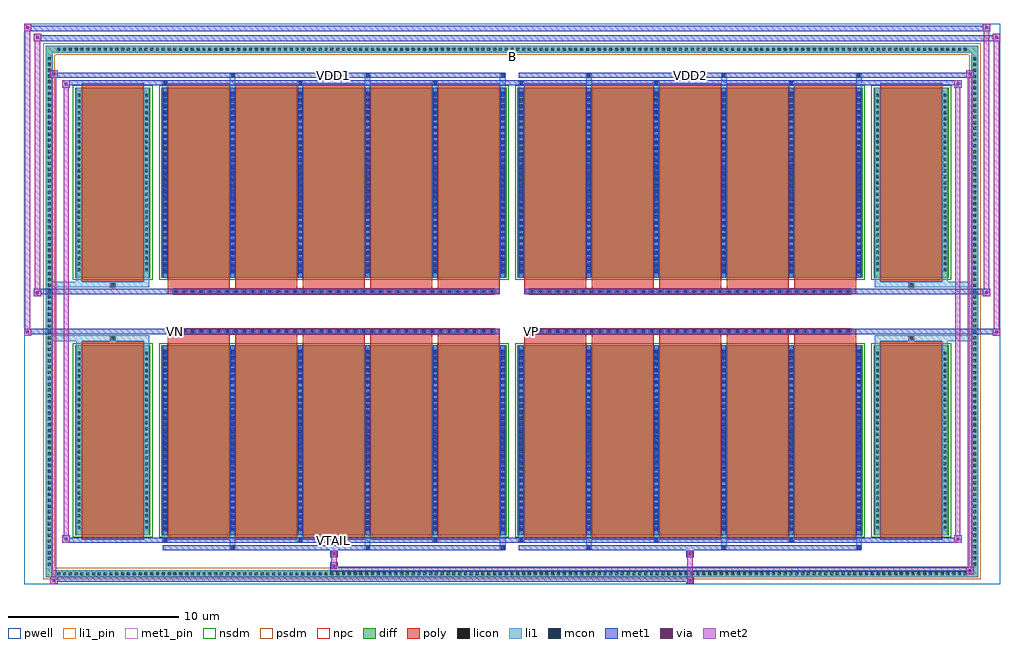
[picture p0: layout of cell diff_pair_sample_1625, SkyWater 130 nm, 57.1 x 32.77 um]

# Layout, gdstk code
import gdstk
lib = gdstk.Library(unit=1e-6, precision=5e-09)
def R(c, l, rs):  # rectangles x0, y0, x1, y1
    for r in rs: c.add(gdstk.rectangle(r[:2], r[2:], *l))
def A(c, l, x, y, w, h, nx, ny, dx, dy):  # array of equal rectangles
    R(c, l, [(x+i*dx, y+j*dy, x+i*dx+w, y+j*dy+h) for i in range(nx) for j in range(ny)])
def P(c, l, *ps):  # polygons
    for p in ps: c.add(gdstk.Polygon(p, *l))
pwell = (64, 44)
diff = (65, 20)
poly = (66, 20)
licon = (66, 44)
li1_pin = (67, 16)
li1 = (67, 20)
mcon = (67, 44)
met1_pin = (68, 16)
met1 = (68, 20)
via = (68, 44)
met2 = (69, 20)
nsdm = (93, 44)
psdm = (94, 20)
npc = (95, 20)

diff_pair_sample_1625 = lib.new_cell('diff_pair_sample_1625')
R(diff_pair_sample_1625, pwell, [(-28.55,-15.95,28.55,16.82), (-25.87,-14.14,-0.01,-0.8), (0.01,-14.14,25.87,-0.8), (-25.87,0.8,-0.01,14.14), (0.01,0.8,25.87,14.14)])
A(diff_pair_sample_1625, diff, -26.725, -15.55, 0.41, 0.41, 157, 2, 0.34, 30.69)
A(diff_pair_sample_1625, diff, -27.28, -14.995, 0.41, 0.41, 1, 88, 0, 0.34)
A(diff_pair_sample_1625, diff, 26.87, -14.995, 0.41, 0.41, 1, 88, 0, 0.34)
R(diff_pair_sample_1625, diff, [(-26.725,-15.55,26.725,-15.14), (-27.28,-14.995,-26.87,14.995), (26.87,-14.995,27.28,14.995), (-25.56,-13.095,-21.16,-1.985), (-20.52,-13.095,-0.32,-1.985), (0.32,-13.095,20.52,-1.985), (21.16,-13.095,25.56,-1.985), (-25.56,1.985,-21.16,13.095), (-20.52,1.985,-0.32,13.095), (0.32,1.985,20.52,13.095), (21.16,1.985,25.56,13.095), (-26.725,15.14,26.725,15.55)])
P(diff_pair_sample_1625, diff, [(27.28,15.55),(-27.28,15.55),(-27.28,-15.14),(-26.87,-15.14),(-26.87,15.14),(26.87,15.14),(26.87,-15.14),(-26.87,-15.14),(-27.28,-15.14),(-27.28,-15.55),(27.28,-15.55)])
A(diff_pair_sample_1625, poly, -20.13, -13.345, 3.62, 11.61, 5, 2, 3.95, 15.08)
A(diff_pair_sample_1625, poly, 0.71, -13.345, 3.62, 11.61, 5, 2, 3.95, 15.08)
A(diff_pair_sample_1625, poly, -20.13, -1.735, 3.62, 0.405, 5, 2, 3.95, 3.065)
A(diff_pair_sample_1625, poly, 0.71, -1.735, 3.62, 0.405, 5, 2, 3.95, 3.065)
A(diff_pair_sample_1625, poly, -19.835, -1.33, 0.33, 0.33, 38, 2, 0.5, 2.33)
A(diff_pair_sample_1625, poly, 1.005, -1.33, 0.33, 0.33, 38, 2, 0.5, 2.33)
R(diff_pair_sample_1625, poly, [(-25.17,-13.345,-21.55,-1.735), (21.55,-13.345,25.17,-1.735), (-23.525,-1.735,-23.195,-1.405), (-23.525,-1.735,-23.195,-1.405), (23.195,-1.735,23.525,-1.405), (23.195,-1.735,23.525,-1.405), (-20.13,-1.33,-0.71,-1), (0.71,-1.33,20.13,-1), (-20.13,1,-0.71,1.33), (0.71,1,20.13,1.33), (-23.525,1.405,-23.195,1.735), (-23.525,1.405,-23.195,1.735), (23.195,1.405,23.525,1.735), (23.195,1.405,23.525,1.735), (-25.17,1.735,-21.55,13.345), (21.55,1.735,25.17,13.345)])
A(diff_pair_sample_1625, licon, -26.605, -15.43, 0.17, 0.17, 157, 2, 0.34, 30.69)
A(diff_pair_sample_1625, licon, -27.16, -14.875, 0.17, 0.17, 1, 88, 0, 0.34)
A(diff_pair_sample_1625, licon, 26.99, -14.875, 0.17, 0.17, 1, 88, 0, 0.34)
A(diff_pair_sample_1625, licon, -25.42, -12.725, 0.17, 0.17, 1, 31, 0, 0.34)
A(diff_pair_sample_1625, licon, -21.47, -12.725, 0.17, 0.17, 1, 31, 0, 0.34)
A(diff_pair_sample_1625, licon, -20.38, -12.725, 0.17, 0.17, 6, 31, 3.95, 0.34)
A(diff_pair_sample_1625, licon, 0.46, -12.725, 0.17, 0.17, 6, 31, 3.95, 0.34)
A(diff_pair_sample_1625, licon, 21.3, -12.725, 0.17, 0.17, 1, 31, 0, 0.34)
A(diff_pair_sample_1625, licon, 25.25, -12.725, 0.17, 0.17, 1, 31, 0, 0.34)
A(diff_pair_sample_1625, licon, -19.755, -1.25, 0.17, 0.17, 38, 2, 0.5, 2.33)
A(diff_pair_sample_1625, licon, 1.085, -1.25, 0.17, 0.17, 38, 2, 0.5, 2.33)
A(diff_pair_sample_1625, licon, -25.42, 2.355, 0.17, 0.17, 1, 31, 0, 0.34)
A(diff_pair_sample_1625, licon, -21.47, 2.355, 0.17, 0.17, 1, 31, 0, 0.34)
A(diff_pair_sample_1625, licon, -20.38, 2.355, 0.17, 0.17, 6, 31, 3.95, 0.34)
A(diff_pair_sample_1625, licon, 0.46, 2.355, 0.17, 0.17, 6, 31, 3.95, 0.34)
A(diff_pair_sample_1625, licon, 21.3, 2.355, 0.17, 0.17, 1, 31, 0, 0.34)
A(diff_pair_sample_1625, licon, 25.25, 2.355, 0.17, 0.17, 1, 31, 0, 0.34)
R(diff_pair_sample_1625, licon, [(-23.445,-1.655,-23.275,-1.485), (23.275,-1.655,23.445,-1.485), (-23.445,1.485,-23.275,1.655), (23.275,1.485,23.445,1.655)])
R(diff_pair_sample_1625, li1_pin, [(-0.25,14.64,0.25,15.14)])
A(diff_pair_sample_1625, li1, -26.685, -15.51, 0.33, 0.33, 157, 2, 0.34, 30.69)
A(diff_pair_sample_1625, li1, -27.24, -14.955, 0.33, 0.33, 1, 88, 0, 0.34)
A(diff_pair_sample_1625, li1, 26.91, -14.955, 0.33, 0.33, 1, 88, 0, 0.34)
A(diff_pair_sample_1625, li1, -16.51, -13.9, 0.33, 0.805, 3, 2, 7.9, 26.995)
A(diff_pair_sample_1625, li1, -16.43, -13.9, 0.17, 0.17, 3, 2, 7.9, 27.63)
A(diff_pair_sample_1625, li1, 4.33, -13.9, 0.33, 0.805, 3, 2, 7.9, 26.995)
A(diff_pair_sample_1625, li1, 4.41, -13.9, 0.17, 0.17, 3, 2, 7.9, 27.63)
A(diff_pair_sample_1625, li1, -20.46, -13.47, 0.33, 0.375, 3, 2, 7.9, 26.565)
A(diff_pair_sample_1625, li1, -20.38, -13.47, 0.17, 0.17, 3, 2, 7.9, 26.77)
A(diff_pair_sample_1625, li1, 0.38, -13.47, 0.33, 0.375, 3, 2, 7.9, 26.565)
A(diff_pair_sample_1625, li1, 0.46, -13.47, 0.17, 0.17, 3, 2, 7.9, 26.77)
A(diff_pair_sample_1625, li1, -20.46, -13.095, 0.33, 11.11, 6, 2, 3.95, 15.08)
A(diff_pair_sample_1625, li1, 0.38, -13.095, 0.33, 11.11, 6, 2, 3.95, 15.08)
A(diff_pair_sample_1625, li1, -20.38, -12.845, 0.17, 0.17, 6, 30, 3.95, 0.36)
A(diff_pair_sample_1625, li1, -20.38, -12.845, 0.17, 10.61, 6, 2, 3.95, 15.08)
A(diff_pair_sample_1625, li1, 0.46, -12.845, 0.17, 0.17, 6, 30, 3.95, 0.36)
A(diff_pair_sample_1625, li1, 0.46, -12.845, 0.17, 10.61, 6, 2, 3.95, 15.08)
A(diff_pair_sample_1625, li1, -25.5, -12.805, 0.33, 0.33, 1, 31, 0, 0.34)
A(diff_pair_sample_1625, li1, -21.55, -12.805, 0.33, 0.33, 1, 31, 0, 0.34)
A(diff_pair_sample_1625, li1, -20.46, -12.805, 0.33, 0.33, 6, 31, 3.95, 0.34)
A(diff_pair_sample_1625, li1, 0.38, -12.805, 0.33, 0.33, 6, 31, 3.95, 0.34)
A(diff_pair_sample_1625, li1, 21.22, -12.805, 0.33, 0.33, 1, 31, 0, 0.34)
A(diff_pair_sample_1625, li1, 25.17, -12.805, 0.33, 0.33, 1, 31, 0, 0.34)
A(diff_pair_sample_1625, li1, -19.835, -1.33, 0.33, 0.33, 38, 2, 0.5, 2.33)
A(diff_pair_sample_1625, li1, 1.005, -1.33, 0.33, 0.33, 38, 2, 0.5, 2.33)
A(diff_pair_sample_1625, li1, -20.38, 2.235, 0.17, 0.17, 6, 30, 3.95, 0.36)
A(diff_pair_sample_1625, li1, 0.46, 2.235, 0.17, 0.17, 6, 30, 3.95, 0.36)
A(diff_pair_sample_1625, li1, -25.5, 2.275, 0.33, 0.33, 1, 31, 0, 0.34)
A(diff_pair_sample_1625, li1, -21.55, 2.275, 0.33, 0.33, 1, 31, 0, 0.34)
A(diff_pair_sample_1625, li1, -20.46, 2.275, 0.33, 0.33, 6, 31, 3.95, 0.34)
A(diff_pair_sample_1625, li1, 0.38, 2.275, 0.33, 0.33, 6, 31, 3.95, 0.34)
A(diff_pair_sample_1625, li1, 21.22, 2.275, 0.33, 0.33, 1, 31, 0, 0.34)
A(diff_pair_sample_1625, li1, 25.17, 2.275, 0.33, 0.33, 1, 31, 0, 0.34)
R(diff_pair_sample_1625, li1, [(-27.28,-15.55,-26.87,-15.14), (-27.28,-15.55,-26.87,-15.14), (-26.87,-15.55,26.87,-15.14), (26.87,-15.55,27.28,-15.14), (26.87,-15.55,27.28,-15.14), (-27.28,-15.14,-26.87,15.14), (26.87,-15.14,27.28,15.14), (-25.5,-13.095,-25.17,-1.985), (-21.55,-13.095,-21.22,-1.985), (21.22,-13.095,21.55,-1.985), (25.17,-13.095,25.5,-1.985), (-25.5,-1.985,-25.17,-1.405), (-21.55,-1.985,-21.22,-1.405), (21.22,-1.985,21.55,-1.405), (25.17,-1.985,25.5,-1.405), (-27.28,-1.735,-23.525,-1.405), (-25.5,-1.735,-23.525,-1.405), (-23.525,-1.735,-23.195,-1.405), (-23.195,-1.735,-21.22,-1.405), (21.22,-1.735,23.195,-1.405), (23.195,-1.735,23.525,-1.405), (23.195,-1.735,27.28,-1.405), (23.525,-1.735,25.5,-1.405), (-27.28,1.405,-23.525,1.735), (-25.5,1.405,-23.525,1.735), (-25.5,1.405,-25.17,1.985), (-23.525,1.405,-23.195,1.735), (-23.195,1.405,-21.22,1.735), (-21.55,1.405,-21.22,1.985), (21.22,1.405,23.195,1.735), (21.22,1.405,21.55,1.985), (23.195,1.405,23.525,1.735), (23.195,1.405,27.28,1.735), (23.525,1.405,25.5,1.735), (25.17,1.405,25.5,1.985), (-25.5,1.985,-25.17,13.095), (-21.55,1.985,-21.22,13.095), (21.22,1.985,21.55,13.095), (25.17,1.985,25.5,13.095), (-27.28,15.14,-26.87,15.55), (-27.28,15.14,-26.87,15.55), (-26.87,15.14,26.87,15.55), (26.87,15.14,27.28,15.55), (26.87,15.14,27.28,15.55)])
A(diff_pair_sample_1625, mcon, -16.43, -13.9, 0.17, 0.17, 3, 2, 7.9, 27.63)
A(diff_pair_sample_1625, mcon, 4.41, -13.9, 0.17, 0.17, 3, 2, 7.9, 27.63)
A(diff_pair_sample_1625, mcon, -20.38, -13.47, 0.17, 0.17, 3, 2, 7.9, 26.77)
A(diff_pair_sample_1625, mcon, 0.46, -13.47, 0.17, 0.17, 3, 2, 7.9, 26.77)
A(diff_pair_sample_1625, mcon, -20.38, -12.845, 0.17, 0.17, 6, 30, 3.95, 0.36)
A(diff_pair_sample_1625, mcon, 0.46, -12.845, 0.17, 0.17, 6, 30, 3.95, 0.36)
A(diff_pair_sample_1625, mcon, -19.755, -1.25, 0.17, 0.17, 38, 2, 0.5, 2.33)
A(diff_pair_sample_1625, mcon, 1.085, -1.25, 0.17, 0.17, 38, 2, 0.5, 2.33)
A(diff_pair_sample_1625, mcon, -20.38, 2.235, 0.17, 0.17, 6, 30, 3.95, 0.36)
A(diff_pair_sample_1625, mcon, 0.46, 2.235, 0.17, 0.17, 6, 30, 3.95, 0.36)
R(diff_pair_sample_1625, met1_pin, [(-10.555,-13.51,-10.285,-13.24), (-19.805,-1.29,-19.535,-1.02), (1.035,-1.29,1.305,-1.02), (-10.555,13.69,-10.285,13.96), (10.285,13.69,10.555,13.96)])
A(diff_pair_sample_1625, met1, -16.49, -13.96, 0.29, 0.29, 3, 2, 7.9, 27.63)
A(diff_pair_sample_1625, met1, 4.35, -13.96, 0.29, 0.29, 3, 2, 7.9, 27.63)
A(diff_pair_sample_1625, met1, -20.44, -13.53, 0.29, 0.29, 3, 2, 7.9, 26.77)
A(diff_pair_sample_1625, met1, 0.4, -13.53, 0.29, 0.29, 3, 2, 7.9, 26.77)
A(diff_pair_sample_1625, met1, -20.44, -13.095, 0.29, 11.11, 6, 2, 3.95, 15.08)
A(diff_pair_sample_1625, met1, 0.4, -13.095, 0.29, 11.11, 6, 2, 3.95, 15.08)
A(diff_pair_sample_1625, met1, -20.44, -12.905, 0.29, 0.29, 6, 30, 3.95, 0.36)
A(diff_pair_sample_1625, met1, 0.4, -12.905, 0.29, 0.29, 6, 30, 3.95, 0.36)
A(diff_pair_sample_1625, met1, -19.815, -1.31, 0.29, 0.29, 38, 2, 0.5, 2.33)
A(diff_pair_sample_1625, met1, 1.025, -1.31, 0.29, 0.29, 38, 2, 0.5, 2.33)
A(diff_pair_sample_1625, met1, -20.44, 2.175, 0.29, 0.29, 6, 30, 3.95, 0.36)
A(diff_pair_sample_1625, met1, 0.4, 2.175, 0.29, 0.29, 6, 30, 3.95, 0.36)
R(diff_pair_sample_1625, met1, [(-27.01,-15.95,-26.58,-15.52), (10.205,-15.95,10.635,-15.52), (-27.01,-15.81,10.635,-15.52), (26.58,-15.38,27.01,-14.95), (-10.635,-15.24,27.01,-14.95), (-10.635,-15.1,-10.205,-14.67), (-10.635,-14.39,-10.205,-13.96), (10.205,-14.39,10.635,-13.96), (-20.44,-13.96,-0.4,-13.67), (0.4,-13.96,20.44,-13.67), (-26.3,-13.53,-25.87,-13.1), (-26.3,-13.53,-20.44,-13.24), (-20.44,-13.53,-0.4,-13.24), (-0.4,-13.53,0.4,-13.24), (0.4,-13.53,20.44,-13.24), (20.44,-13.53,26.3,-13.24), (25.87,-13.53,26.3,-13.1), (-28.55,-1.43,-28.12,-1), (28.12,-1.43,28.55,-1), (-28.55,-1.33,-0.71,-1), (-20.13,-1.33,-0.71,-1), (0.71,-1.33,20.13,-1), (0.71,-1.33,28.55,-1), (-27.98,0.9,-27.55,1.33), (27.55,0.9,27.98,1.33), (-27.98,1,-20.13,1.33), (-20.13,1,-0.71,1.33), (0.71,1,20.13,1.33), (20.13,1,27.98,1.33), (-26.3,13.1,-25.87,13.53), (25.87,13.1,26.3,13.53), (-26.3,13.24,-20.44,13.53), (-20.44,13.24,-0.4,13.53), (-0.4,13.24,0.4,13.53), (0.4,13.24,20.44,13.53), (20.44,13.24,26.3,13.53), (-27.01,13.67,-26.58,14.1), (-27.01,13.67,-20.44,13.96), (-20.44,13.67,-0.4,13.96), (0.4,13.67,20.44,13.96), (20.44,13.67,27.01,13.96), (26.58,13.67,27.01,14.1), (-27.98,15.82,-27.55,16.25), (-27.98,15.82,-25.87,16.15), (-25.87,15.82,25.87,16.15), (25.87,15.82,28.55,16.15), (28.12,15.82,28.55,16.25), (-28.55,16.39,-28.12,16.82), (-28.55,16.39,-25.87,16.72), (-25.87,16.39,25.87,16.72), (25.87,16.39,27.98,16.72), (27.55,16.39,27.98,16.82)])
R(diff_pair_sample_1625, via, [(-26.87,-15.81,-26.72,-15.66), (10.345,-15.81,10.495,-15.66), (26.72,-15.24,26.87,-15.09), (-10.495,-14.96,-10.345,-14.81), (-10.495,-14.25,-10.345,-14.1), (10.345,-14.25,10.495,-14.1), (-26.16,-13.39,-26.01,-13.24), (26.01,-13.39,26.16,-13.24), (-28.41,-1.29,-28.26,-1.14), (28.26,-1.29,28.41,-1.14), (-27.84,1.04,-27.69,1.19), (27.69,1.04,27.84,1.19), (-26.16,13.24,-26.01,13.39), (26.01,13.24,26.16,13.39), (-26.87,13.81,-26.72,13.96), (26.72,13.81,26.87,13.96), (-27.84,15.96,-27.69,16.11), (28.26,15.96,28.41,16.11), (-28.41,16.53,-28.26,16.68), (27.69,16.53,27.84,16.68)])
R(diff_pair_sample_1625, met2, [(-27.01,-15.95,-26.58,-15.52), (-26.94,-15.95,-26.65,14.1), (-26.65,-15.95,-26.58,-15.52), (-26.96,-15.9,-26.63,-15.57), (10.255,-15.9,10.585,-15.57), (10.255,-15.57,10.585,-14.34), (26.58,-15.38,27.01,-14.95), (26.65,-15.38,26.94,14.1), (26.94,-15.38,27.01,-14.95), (26.63,-15.33,26.96,-15), (-10.585,-15.05,-10.255,-14.72), (-10.585,-14.72,-10.255,-14.34), (-10.585,-14.34,-10.255,-14.01), (10.255,-14.34,10.585,-14.01), (-26.3,-13.53,-25.87,-13.1), (-26.23,-13.53,-25.94,13.53), (-25.94,-13.53,-25.87,-13.1), (25.87,-13.53,26.3,-13.1), (25.94,-13.53,26.23,13.53), (26.23,-13.53,26.3,-13.1), (-26.25,-13.48,-25.92,-13.15), (25.92,-13.48,26.25,-13.15), (-28.55,-1.43,-28.12,-1), (-28.5,-1.43,-28.17,16.82), (-28.17,-1.43,-28.12,-1), (28.12,-1.43,28.55,-1), (28.17,-1.43,28.5,16.25), (28.5,-1.43,28.55,-1), (-28.5,-1.38,-28.17,-1.05), (28.17,-1.38,28.5,-1.05), (-27.98,0.9,-27.55,1.33), (-27.93,0.9,-27.6,16.25), (-27.6,0.9,-27.55,1.33), (27.55,0.9,27.98,1.33), (27.6,0.9,27.93,16.82), (27.93,0.9,27.98,1.33), (-27.93,0.95,-27.6,1.28), (27.6,0.95,27.93,1.28), (-26.3,13.1,-25.87,13.53), (-25.94,13.1,-25.87,13.53), (25.87,13.1,26.3,13.53), (26.23,13.1,26.3,13.53), (-26.25,13.15,-25.92,13.48), (25.92,13.15,26.25,13.48), (-27.01,13.67,-26.58,14.1), (-26.65,13.67,-26.58,14.1), (26.58,13.67,27.01,14.1), (26.94,13.67,27.01,14.1), (-26.96,13.72,-26.63,14.05), (26.63,13.72,26.96,14.05), (-27.98,15.82,-27.55,16.25), (-27.6,15.82,-27.55,16.25), (28.12,15.82,28.55,16.25), (28.5,15.82,28.55,16.25), (-27.93,15.87,-27.6,16.2), (28.17,15.87,28.5,16.2), (-28.55,16.39,-28.12,16.82), (-28.17,16.39,-28.12,16.82), (27.55,16.39,27.98,16.82), (27.93,16.39,27.98,16.82), (-28.5,16.44,-28.17,16.77), (27.6,16.44,27.93,16.77)])
R(diff_pair_sample_1625, nsdm, [(-25.69,-13.225,-21.03,-1.855), (-20.65,-13.225,-0.19,-1.855), (0.19,-13.225,20.65,-1.855), (21.03,-13.225,25.69,-1.855), (-25.69,1.855,-21.03,13.225), (-20.65,1.855,-0.19,13.225), (0.19,1.855,20.65,13.225), (21.03,1.855,25.69,13.225)])
P(diff_pair_sample_1625, psdm, [(27.41,15.68),(-27.41,15.68),(-27.41,-15.01),(-26.74,-15.01),(-26.74,15.01),(26.74,15.01),(26.74,-15.01),(-26.74,-15.01),(-27.41,-15.01),(-27.41,-15.68),(27.41,-15.68)])
A(diff_pair_sample_1625, npc, -19.855, -1.35, 0.37, 0.37, 38, 2, 0.5, 2.33)
A(diff_pair_sample_1625, npc, 0.985, -1.35, 0.37, 0.37, 38, 2, 0.5, 2.33)
R(diff_pair_sample_1625, npc, [(-23.545,-1.755,-23.175,-1.385), (23.175,-1.755,23.545,-1.385), (-19.855,-1.35,-18.985,-0.98), (-19.855,-1.35,-18.985,-0.98), (-19.355,-1.35,-18.485,-0.98), (-19.355,-1.35,-18.485,-0.98), (-18.855,-1.35,-17.985,-0.98), (-18.855,-1.35,-17.985,-0.98), (-18.355,-1.35,-17.485,-0.98), (-18.355,-1.35,-17.485,-0.98), (-17.855,-1.35,-16.985,-0.98), (-17.855,-1.35,-16.985,-0.98), (-17.355,-1.35,-16.485,-0.98), (-17.355,-1.35,-16.485,-0.98), (-16.855,-1.35,-15.985,-0.98), (-16.855,-1.35,-15.985,-0.98), (-16.355,-1.35,-15.485,-0.98), (-16.355,-1.35,-15.485,-0.98), (-15.855,-1.35,-14.985,-0.98), (-15.855,-1.35,-14.985,-0.98), (-15.355,-1.35,-14.485,-0.98), (-15.355,-1.35,-14.485,-0.98), (-14.855,-1.35,-13.985,-0.98), (-14.855,-1.35,-13.985,-0.98), (-14.355,-1.35,-13.485,-0.98), (-14.355,-1.35,-13.485,-0.98), (-13.855,-1.35,-12.985,-0.98), (-13.855,-1.35,-12.985,-0.98), (-13.355,-1.35,-12.485,-0.98), (-13.355,-1.35,-12.485,-0.98), (-12.855,-1.35,-11.985,-0.98), (-12.855,-1.35,-11.985,-0.98), (-12.355,-1.35,-11.485,-0.98), (-12.355,-1.35,-11.485,-0.98), (-11.855,-1.35,-10.985,-0.98), (-11.855,-1.35,-10.985,-0.98), (-11.355,-1.35,-10.485,-0.98), (-11.355,-1.35,-10.485,-0.98), (-10.855,-1.35,-9.985,-0.98), (-10.855,-1.35,-9.985,-0.98), (-10.355,-1.35,-9.485,-0.98), (-10.355,-1.35,-9.485,-0.98), (-9.855,-1.35,-8.985,-0.98), (-9.855,-1.35,-8.985,-0.98), (-9.355,-1.35,-8.485,-0.98), (-9.355,-1.35,-8.485,-0.98), (-8.855,-1.35,-7.985,-0.98), (-8.855,-1.35,-7.985,-0.98), (-8.355,-1.35,-7.485,-0.98), (-8.355,-1.35,-7.485,-0.98), (-7.855,-1.35,-6.985,-0.98), (-7.855,-1.35,-6.985,-0.98), (-7.355,-1.35,-6.485,-0.98), (-7.355,-1.35,-6.485,-0.98), (-6.855,-1.35,-5.985,-0.98), (-6.855,-1.35,-5.985,-0.98), (-6.355,-1.35,-5.485,-0.98), (-6.355,-1.35,-5.485,-0.98), (-5.855,-1.35,-4.985,-0.98), (-5.855,-1.35,-4.985,-0.98), (-5.355,-1.35,-4.485,-0.98), (-5.355,-1.35,-4.485,-0.98), (-4.855,-1.35,-3.985,-0.98), (-4.855,-1.35,-3.985,-0.98), (-4.355,-1.35,-3.485,-0.98), (-4.355,-1.35,-3.485,-0.98), (-3.855,-1.35,-2.985,-0.98), (-3.855,-1.35,-2.985,-0.98), (-3.355,-1.35,-2.485,-0.98), (-3.355,-1.35,-2.485,-0.98), (-2.855,-1.35,-1.985,-0.98), (-2.855,-1.35,-1.985,-0.98), (-2.355,-1.35,-1.485,-0.98), (-2.355,-1.35,-1.485,-0.98), (-1.855,-1.35,-0.985,-0.98), (-1.855,-1.35,-0.985,-0.98), (0.985,-1.35,1.855,-0.98), (0.985,-1.35,1.855,-0.98), (1.485,-1.35,2.355,-0.98), (1.485,-1.35,2.355,-0.98), (1.985,-1.35,2.855,-0.98), (1.985,-1.35,2.855,-0.98), (2.485,-1.35,3.355,-0.98), (2.485,-1.35,3.355,-0.98), (2.985,-1.35,3.855,-0.98), (2.985,-1.35,3.855,-0.98), (3.485,-1.35,4.355,-0.98), (3.485,-1.35,4.355,-0.98), (3.985,-1.35,4.855,-0.98), (3.985,-1.35,4.855,-0.98), (4.485,-1.35,5.355,-0.98), (4.485,-1.35,5.355,-0.98), (4.985,-1.35,5.855,-0.98), (4.985,-1.35,5.855,-0.98), (5.485,-1.35,6.355,-0.98), (5.485,-1.35,6.355,-0.98), (5.985,-1.35,6.855,-0.98), (5.985,-1.35,6.855,-0.98), (6.485,-1.35,7.355,-0.98), (6.485,-1.35,7.355,-0.98), (6.985,-1.35,7.855,-0.98), (6.985,-1.35,7.855,-0.98), (7.485,-1.35,8.355,-0.98), (7.485,-1.35,8.355,-0.98), (7.985,-1.35,8.855,-0.98), (7.985,-1.35,8.855,-0.98), (8.485,-1.35,9.355,-0.98), (8.485,-1.35,9.355,-0.98), (8.985,-1.35,9.855,-0.98), (8.985,-1.35,9.855,-0.98), (9.485,-1.35,10.355,-0.98), (9.485,-1.35,10.355,-0.98), (9.985,-1.35,10.855,-0.98), (9.985,-1.35,10.855,-0.98), (10.485,-1.35,11.355,-0.98), (10.485,-1.35,11.355,-0.98), (10.985,-1.35,11.855,-0.98), (10.985,-1.35,11.855,-0.98), (11.485,-1.35,12.355,-0.98), (11.485,-1.35,12.355,-0.98), (11.985,-1.35,12.855,-0.98), (11.985,-1.35,12.855,-0.98), (12.485,-1.35,13.355,-0.98), (12.485,-1.35,13.355,-0.98), (12.985,-1.35,13.855,-0.98), (12.985,-1.35,13.855,-0.98), (13.485,-1.35,14.355,-0.98), (13.485,-1.35,14.355,-0.98), (13.985,-1.35,14.855,-0.98), (13.985,-1.35,14.855,-0.98), (14.485,-1.35,15.355,-0.98), (14.485,-1.35,15.355,-0.98), (14.985,-1.35,15.855,-0.98), (14.985,-1.35,15.855,-0.98), (15.485,-1.35,16.355,-0.98), (15.485,-1.35,16.355,-0.98), (15.985,-1.35,16.855,-0.98), (15.985,-1.35,16.855,-0.98), (16.485,-1.35,17.355,-0.98), (16.485,-1.35,17.355,-0.98), (16.985,-1.35,17.855,-0.98), (16.985,-1.35,17.855,-0.98), (17.485,-1.35,18.355,-0.98), (17.485,-1.35,18.355,-0.98), (17.985,-1.35,18.855,-0.98), (17.985,-1.35,18.855,-0.98), (18.485,-1.35,19.355,-0.98), (18.485,-1.35,19.355,-0.98), (18.985,-1.35,19.855,-0.98), (18.985,-1.35,19.855,-0.98), (-19.855,0.98,-18.985,1.35), (-19.855,0.98,-18.985,1.35), (-19.355,0.98,-18.485,1.35), (-19.355,0.98,-18.485,1.35), (-18.855,0.98,-17.985,1.35), (-18.855,0.98,-17.985,1.35), (-18.355,0.98,-17.485,1.35), (-18.355,0.98,-17.485,1.35), (-17.855,0.98,-16.985,1.35), (-17.855,0.98,-16.985,1.35), (-17.355,0.98,-16.485,1.35), (-17.355,0.98,-16.485,1.35), (-16.855,0.98,-15.985,1.35), (-16.855,0.98,-15.985,1.35), (-16.355,0.98,-15.485,1.35), (-16.355,0.98,-15.485,1.35), (-15.855,0.98,-14.985,1.35), (-15.855,0.98,-14.985,1.35), (-15.355,0.98,-14.485,1.35), (-15.355,0.98,-14.485,1.35), (-14.855,0.98,-13.985,1.35), (-14.855,0.98,-13.985,1.35), (-14.355,0.98,-13.485,1.35), (-14.355,0.98,-13.485,1.35), (-13.855,0.98,-12.985,1.35), (-13.855,0.98,-12.985,1.35), (-13.355,0.98,-12.485,1.35), (-13.355,0.98,-12.485,1.35), (-12.855,0.98,-11.985,1.35), (-12.855,0.98,-11.985,1.35), (-12.355,0.98,-11.485,1.35), (-12.355,0.98,-11.485,1.35), (-11.855,0.98,-10.985,1.35), (-11.855,0.98,-10.985,1.35), (-11.355,0.98,-10.485,1.35), (-11.355,0.98,-10.485,1.35), (-10.855,0.98,-9.985,1.35), (-10.855,0.98,-9.985,1.35), (-10.355,0.98,-9.485,1.35), (-10.355,0.98,-9.485,1.35), (-9.855,0.98,-8.985,1.35), (-9.855,0.98,-8.985,1.35), (-9.355,0.98,-8.485,1.35), (-9.355,0.98,-8.485,1.35), (-8.855,0.98,-7.985,1.35), (-8.855,0.98,-7.985,1.35), (-8.355,0.98,-7.485,1.35), (-8.355,0.98,-7.485,1.35), (-7.855,0.98,-6.985,1.35), (-7.855,0.98,-6.985,1.35), (-7.355,0.98,-6.485,1.35), (-7.355,0.98,-6.485,1.35), (-6.855,0.98,-5.985,1.35), (-6.855,0.98,-5.985,1.35), (-6.355,0.98,-5.485,1.35), (-6.355,0.98,-5.485,1.35), (-5.855,0.98,-4.985,1.35), (-5.855,0.98,-4.985,1.35), (-5.355,0.98,-4.485,1.35), (-5.355,0.98,-4.485,1.35), (-4.855,0.98,-3.985,1.35), (-4.855,0.98,-3.985,1.35), (-4.355,0.98,-3.485,1.35), (-4.355,0.98,-3.485,1.35), (-3.855,0.98,-2.985,1.35), (-3.855,0.98,-2.985,1.35), (-3.355,0.98,-2.485,1.35), (-3.355,0.98,-2.485,1.35), (-2.855,0.98,-1.985,1.35), (-2.855,0.98,-1.985,1.35), (-2.355,0.98,-1.485,1.35), (-2.355,0.98,-1.485,1.35), (-1.855,0.98,-0.985,1.35), (-1.855,0.98,-0.985,1.35), (0.985,0.98,1.855,1.35), (0.985,0.98,1.855,1.35), (1.485,0.98,2.355,1.35), (1.485,0.98,2.355,1.35), (1.985,0.98,2.855,1.35), (1.985,0.98,2.855,1.35), (2.485,0.98,3.355,1.35), (2.485,0.98,3.355,1.35), (2.985,0.98,3.855,1.35), (2.985,0.98,3.855,1.35), (3.485,0.98,4.355,1.35), (3.485,0.98,4.355,1.35), (3.985,0.98,4.855,1.35), (3.985,0.98,4.855,1.35), (4.485,0.98,5.355,1.35), (4.485,0.98,5.355,1.35), (4.985,0.98,5.855,1.35), (4.985,0.98,5.855,1.35), (5.485,0.98,6.355,1.35), (5.485,0.98,6.355,1.35), (5.985,0.98,6.855,1.35), (5.985,0.98,6.855,1.35), (6.485,0.98,7.355,1.35), (6.485,0.98,7.355,1.35), (6.985,0.98,7.855,1.35), (6.985,0.98,7.855,1.35), (7.485,0.98,8.355,1.35), (7.485,0.98,8.355,1.35), (7.985,0.98,8.855,1.35), (7.985,0.98,8.855,1.35), (8.485,0.98,9.355,1.35), (8.485,0.98,9.355,1.35), (8.985,0.98,9.855,1.35), (8.985,0.98,9.855,1.35), (9.485,0.98,10.355,1.35), (9.485,0.98,10.355,1.35), (9.985,0.98,10.855,1.35), (9.985,0.98,10.855,1.35), (10.485,0.98,11.355,1.35), (10.485,0.98,11.355,1.35), (10.985,0.98,11.855,1.35), (10.985,0.98,11.855,1.35), (11.485,0.98,12.355,1.35), (11.485,0.98,12.355,1.35), (11.985,0.98,12.855,1.35), (11.985,0.98,12.855,1.35), (12.485,0.98,13.355,1.35), (12.485,0.98,13.355,1.35), (12.985,0.98,13.855,1.35), (12.985,0.98,13.855,1.35), (13.485,0.98,14.355,1.35), (13.485,0.98,14.355,1.35), (13.985,0.98,14.855,1.35), (13.985,0.98,14.855,1.35), (14.485,0.98,15.355,1.35), (14.485,0.98,15.355,1.35), (14.985,0.98,15.855,1.35), (14.985,0.98,15.855,1.35), (15.485,0.98,16.355,1.35), (15.485,0.98,16.355,1.35), (15.985,0.98,16.855,1.35), (15.985,0.98,16.855,1.35), (16.485,0.98,17.355,1.35), (16.485,0.98,17.355,1.35), (16.985,0.98,17.855,1.35), (16.985,0.98,17.855,1.35), (17.485,0.98,18.355,1.35), (17.485,0.98,18.355,1.35), (17.985,0.98,18.855,1.35), (17.985,0.98,18.855,1.35), (18.485,0.98,19.355,1.35), (18.485,0.98,19.355,1.35), (18.985,0.98,19.855,1.35), (18.985,0.98,19.855,1.35), (-23.545,1.385,-23.175,1.755), (23.175,1.385,23.545,1.755)])
diff_pair_sample_1625.add(gdstk.Label('VTAIL', (-10.42,-13.375), layer=68, texttype=5))
diff_pair_sample_1625.add(gdstk.Label('VN', (-19.67,-1.155), layer=68, texttype=5))
diff_pair_sample_1625.add(gdstk.Label('VP', (1.17,-1.155), layer=68, texttype=5))
diff_pair_sample_1625.add(gdstk.Label('B', (0,14.89), layer=67, texttype=5))
diff_pair_sample_1625.add(gdstk.Label('VDD2', (10.42,13.825), layer=68, texttype=5))
diff_pair_sample_1625.add(gdstk.Label('VDD1', (-10.42,13.825), layer=68, texttype=5))

lib.write_gds('diff_pair_sample_1625.gds')
